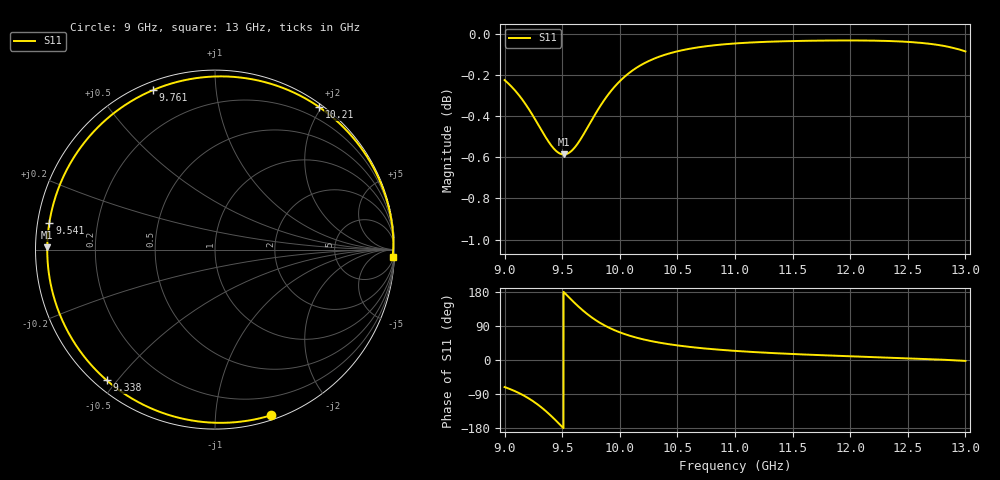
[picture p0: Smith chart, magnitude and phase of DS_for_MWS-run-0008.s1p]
! TOUCHSTONE file generated by CST DESIGN STUDIO
! Date and time: Tue Feb  4 13:16:06 2025
! Project name: C:\Work\MatlabApps\UnitCellOptimizationMatlab\CST\unitcell.cst
! Tree item: Tasks\Sweep1\SPara1\S-Parameters
! Header version: 2024
! Port assignment regex: !\s*Touchstone port\s*([0-9]+)\s*=\s*(CST MWS port|CST DES external port|CST DES block port)\s*(.+)\s* \(\"(.*)\"\)(\s*mode\s*([0-9]+))?.*
! Touchstone port assignment:
! Touchstone port 1 = CST DES external port 1 ("")
# GHz S MA R 50
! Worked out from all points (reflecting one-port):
!   4001 points, 9 GHz to 13 GHz, reference 50 ohm
!   lowest |S11| = -0.6 dB at 9.514 GHz (marker M1), VSWR 29.63, Z = 1.69 + j0.37 ohm
!   phase of S11 starts at -71 deg and turns -291 deg over the sweep
!   S11 on the Smith chart (normalised r, x): 9 GHz: 0.04, -1.39; 9.338 GHz: 0.03, -0.47; 9.541 GHz: 0.03, +0.08; 9.761 GHz: 0.04, +0.68; 10.21 GHz: 0.04, +1.97; 13 GHz: 10, -45
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9  0.9745 -71.4
9.093  0.9686 -82.7
9.198  0.9599 -99.3
9.271  0.9526 -113.8
9.338  0.9456 -129.7
9.382  0.9414 -141.4
9.427  0.9378 -154.2
9.464  0.9358 -165.4
9.5  0.9348 -176.5
9.514  0.9347 179.2
9.541  0.935 170.8
9.594  0.9374 154.6
9.655  0.9423 137.2
9.707  0.9476 123.8
9.761  0.9533 111.4
9.81  0.9584 101.4
9.864  0.9635 91.9
10  0.9738 73.0
10.1  0.9792 62.8
10.212  0.9837 53.9
10.344  0.9873 45.8
10.5  0.9903 38.5
10.721  0.9928 30.9
11  0.9946 24.1
11.5  0.996 15.8
12  0.9963 9.9
12.5  0.9955 4.5
13  0.9902 -2.4
